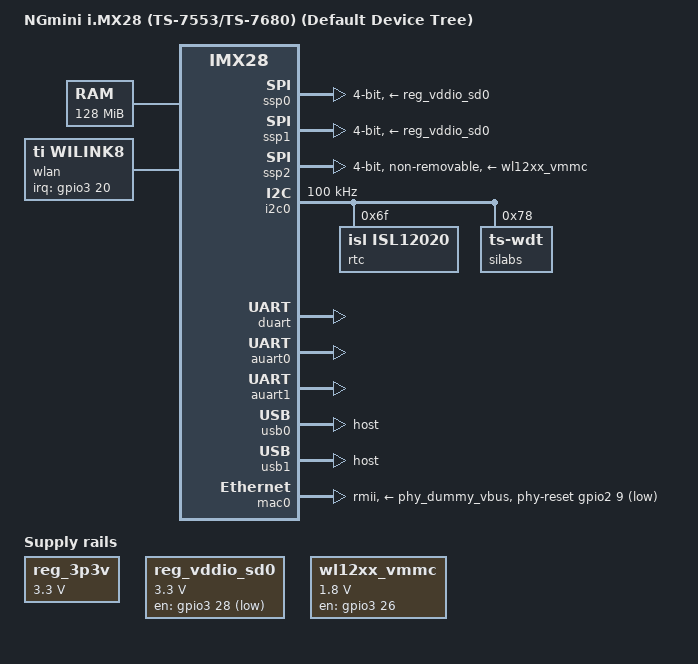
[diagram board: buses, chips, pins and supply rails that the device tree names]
/*
 * Copyright (C) 2012 Marek Vasut <marex@denx.de>
 *
 * The code contained herein is licensed under the GNU General Public
 * License. You may obtain a copy of the GNU General Public License
 * Version 2 or later at the following locations:
 *
 * http://www.opensource.org/licenses/gpl-license.html
 * http://www.gnu.org/copyleft/gpl.html
 */

/dts-v1/;
#include "imx28.dtsi"
#include "dt-bindings/gpio/gpio.h"
#include <dt-bindings/interrupt-controller/irq.h>

/ {

	model = "NGmini i.MX28 (TS-7553/TS-7680) (Default Device Tree)";
	compatible = "fsl,imx28-tsngmini", "fsl,imx28";

	aliases {
		mmc0 = &ssp0;
		mmc2 = &ssp1;
		i2c0 = &i2c0;
	};

	memory {
		reg = <0x40000000 0x08000000>;   /* 128MB */
	};

	apb@80000000 {
		apbh@80000000 {
		
			ssp0: ssp@80010000 {
				compatible = "fsl,imx28-mmc";
				pinctrl-names = "default";
				pinctrl-0 = <&mmc0_4bit_pins
					     &en_sd_pwr>;
				broken-cd = <1>;	     
				bus-width = <4>;
				vmmc-supply = <&reg_vddio_sd0>;
				status = "okay";
			};

			ssp1: ssp@80012000 {
				compatible = "fsl,imx28-mmc";
				pinctrl-names = "default";
				pinctrl-0 = <&mmc1_4bit_pins
					     &en_sd_pwr>;
				broken-cd = <1>;	     
				bus-width = <4>;
				vmmc-supply = <&reg_vddio_sd0>;
				status = "okay";
			};
						
			ssp2: ssp@80014000 {
				compatible = "fsl,imx28-mmc";
				max-frequency = <26000000>;
				pinctrl-names = "default";
				pinctrl-0 = <&mmc2_4bit_pins
		  			     &misc_pins>;
				broken-cd = <1>;
				cap-sdio-irq;
				non-removable;
				bus-width = <4>;
				vmmc-supply = <&wl12xx_vmmc>;
				status = "okay";
			};

			pinctrl@80018000 {
				pinctrl-names = "default";
				
				en_sd_pwr: en_sd_pwr {
				   fsl,pinmux-ids = <
				      MX28_PAD_PWM3__GPIO_3_28   // EN_SD_POWER#
				   >;
				   fsl,drive-strength = <MXS_DRIVE_4mA>;
					fsl,voltage = <MXS_VOLTAGE_HIGH>;
					fsl,pull-up = <MXS_PULL_DISABLE>;				   
				};

				mmc0_4bit_pins: mmc0-4bit@0 {
					reg = <0>;
					fsl,pinmux-ids = <
					  MX28_PAD_SSP0_DATA0__SSP0_D0
					  MX28_PAD_SSP0_DATA1__SSP0_D1
					  MX28_PAD_SSP0_DATA2__SSP0_D2
					  MX28_PAD_SSP0_DATA3__SSP0_D3
					  MX28_PAD_SSP0_CMD__SSP0_CMD						
					  MX28_PAD_SSP0_SCK__SSP0_SCK
					>;
					fsl,drive-strength = <MXS_DRIVE_8mA>;
					fsl,voltage = <MXS_VOLTAGE_HIGH>;
					fsl,pull-up = <MXS_PULL_ENABLE>;
				};

				mmc1_4bit_pins: mmc1-4bit@0 {
					reg = <0>;
					fsl,pinmux-ids = <
					  MX28_PAD_GPMI_WRN__SSP1_SCK

					  MX28_PAD_GPMI_RDY1__SSP1_CMD
					  MX28_PAD_GPMI_D00__SSP1_D0
					  MX28_PAD_GPMI_D01__SSP1_D1
					  MX28_PAD_GPMI_D02__SSP1_D2
					  MX28_PAD_GPMI_D03__SSP1_D3
					>;
					fsl,drive-strength = <MXS_DRIVE_8mA>;
					fsl,voltage = <MXS_VOLTAGE_HIGH>;
					fsl,pull-up = <MXS_PULL_ENABLE>;
				};
				
				mmc2_4bit_pins: mmc2-4bit@0 {   /* wifi */
					reg = <0>;
					fsl,pinmux-ids = <
					  MX28_PAD_SSP0_DATA4__SSP2_D0
					  MX28_PAD_SSP2_SS1__SSP2_D1
					  MX28_PAD_SSP2_SS2__SSP2_D2
					  MX28_PAD_SSP0_DATA5__SSP2_D3
					  MX28_PAD_SSP0_DATA6__SSP2_CMD
					  MX28_PAD_SSP0_DATA7__SSP2_SCK

					  MX28_PAD_SAIF0_MCLK__GPIO_3_20 /*IRQ*/
					  MX28_PAD_SAIF0_LRCLK__GPIO_3_21 /*BT*/
					  MX28_PAD_SAIF1_SDATA0__GPIO_3_26/*WL*/
					>;
					fsl,drive-strength = <MXS_DRIVE_12mA>;
					fsl,voltage = <MXS_VOLTAGE_LOW>;
					fsl,pull-up = <MXS_PULL_ENABLE>;
				};

				mac0_pins_ts: mac0@0 {
					reg = <0>;
					fsl,pinmux-ids = <
					   MX28_PAD_ENET0_MDC__GPIO_4_0
					   MX28_PAD_ENET0_MDIO__GPIO_4_1
					   MX28_PAD_ENET0_RX_EN__ENET0_RX_EN
					   MX28_PAD_ENET0_RXD0__ENET0_RXD0
					   MX28_PAD_ENET0_RXD1__ENET0_RXD1
					   MX28_PAD_ENET0_TX_EN__ENET0_TX_EN
					   MX28_PAD_ENET0_TXD0__ENET0_TXD0
					   MX28_PAD_ENET0_TXD1__ENET0_TXD1
					   MX28_PAD_ENET_CLK__CLKCTRL_ENET
					>;
					fsl,drive-strength = <MXS_DRIVE_8mA>;
					fsl,voltage = <MXS_VOLTAGE_HIGH>;
					fsl,pull-up = <MXS_PULL_ENABLE>;
				};

				auart0_pins_1v8: auart0@0 {
					reg = <0>;
					fsl,pinmux-ids = <
						MX28_PAD_AUART0_RX__AUART0_RX
						MX28_PAD_AUART0_TX__AUART0_TX
						MX28_PAD_AUART0_CTS__AUART0_CTS
						MX28_PAD_AUART0_RTS__AUART0_RTS
					>;
					fsl,drive-strength = <MXS_DRIVE_4mA>;
					fsl,voltage = <MXS_VOLTAGE_LOW>;
					fsl,pull-up = <MXS_PULL_DISABLE>;
				};

				misc_pins: misc@0 {
					reg = <0>;
					fsl,pinmux-ids = <
					  //USB 5V EN
					  MX28_PAD_LCD_CS__GPIO_1_27

					  MX28_PAD_SSP2_MISO__GPIO_2_18
					  MX28_PAD_SSP2_SS0__GPIO_2_19
					  MX28_PAD_SSP2_SCK__GPIO_2_16
					  MX28_PAD_SSP2_MOSI__GPIO_2_17
			      		>;
					fsl,drive-strength = <MXS_DRIVE_4mA>;
					fsl,voltage = <MXS_VOLTAGE_HIGH>;
					fsl,pull-up = <MXS_PULL_ENABLE>;
				};

			};
			
			can0: can@80032000 {
				pinctrl-names = "default";
				pinctrl-0 = <&can0_pins_a>;
				status = "disabled";
			};

			can1: can@80034000 {
				pinctrl-names = "default";
				pinctrl-0 = <&can1_pins_a>;
				status = "disabled";
			};

		};

		apbx@80040000 {
			i2c0: i2c@80058000 {
				pinctrl-names = "default";
				pinctrl-0 = <&i2c0_pins_a>;
				clock-frequency = <100000>;
				status = "okay";

				rtc: isl12020@6f {
					compatible = "isl,isl12020";
					reg = <0x6f>;
				};

				silabs: silabs@78 {
					compatible = "ts-wdt";
					reg = <0x78>;
				};
		   	};

			duart: serial@80074000 {
				pinctrl-names = "default";
				pinctrl-0 = <&duart_pins_a>;
				status = "okay";
			};

			usbphy0: usbphy@8007c000 {
				status = "okay";
								
			};

			usbphy1: usbphy@8007e000 {			   
				status = "okay";
			};


			auart0: serial@8006a000 {
				pinctrl-names = "default";
				pinctrl-0 = <&auart0_pins_1v8>;
				status = "okay";
			};

			auart1: serial@8006c000 {
				pinctrl-names = "default";
				pinctrl-0 = <&auart1_2pins_a>;
				status = "okay";
			};

			pwm: pwm@80064000 {
				pinctrl-names = "default";
				pinctrl-0 = <&pwm2_pins_a>;
				status = "disabled";
			};
		};
	};

	ahb@80080000 {	   
		usb0: usb@80080000 {
			disable-over-current;
			dr_mode = "host";
			status = "okay";
		};

		usb1: usb@80090000 {
			disable-over-current;
			dr_mode = "host";
			status = "okay";
		};

		mac0: ethernet@800f0000 {
			phy-mode = "rmii";
			pinctrl-names = "default";
			pinctrl-0 = <&mac0_pins_ts>;
			clocks = <&clks 57>, <&clks 57>, <&clks 64>;
			clock-names = "ipg", "ahb", "enet_out";
		 	phy-supply = <&phy_dummy_vbus>;		
			phy-reset-gpios = <&gpio2 9 GPIO_ACTIVE_LOW>;
			phy-reset-duration = <1000>;
			status = "okay";

			phy: ethernet@0 {	   
				device_type = "network";
				fixed-link = <0 1 100 0 0>;
			};
		};
	};

	regulators {
		compatible = "simple-bus";

		reg_3p3v: 3p3v {
			compatible = "regulator-fixed";
			regulator-name = "3P3V";
			regulator-min-microvolt = <3300000>;
			regulator-max-microvolt = <3300000>;
			regulator-always-on;
		};
		
		
		reg_vddio_sd0: vddio-sd0 {
			compatible = "regulator-fixed";
			regulator-name = "vddio-sd0";
			regulator-min-microvolt = <3300000>;
			regulator-max-microvolt = <3300000>;
			regulator-boot-on;
			gpio = <&gpio3 28 0>;
			};
	
		
		reg_usb0_vbus: usb0_vbus {
			compatible = "regulator-dummy";
			regulator-name = "usb0_vbus_dummy";
			regulator-always-on;
			
		};

		reg_usb1_vbus: usb1_vbus {
			compatible = "regulator-dummy";
			regulator-name = "usb1_vbus_dummy";
			regulator-always-on;
		};
		
		
		wl12xx_vmmc: wl12xx-vmmc {		
			compatible = "regulator-fixed";
			regulator-name = "vddio-sd1";
			regulator-min-microvolt = <1800000>;
			regulator-max-microvolt = <1800000>;
			gpio = <&gpio3 26 0>;
			startup-delay-us = <70000>;
			enable-active-high;
			regulator-boot-on;
		};

		phy_dummy_vbus: phy_dummy_vbus {		
			compatible = "regulator-dummy";
			regulator-name = "phy-dummy";
			enable-active-high;
			regulator-boot-on;
		};


	};
	
	wlan  {
		compatible = "ti,wilink8";		
		interrupt-parent = <&gpio3>;		
		interrupts = <20 IRQ_TYPE_EDGE_FALLING>;
		interrupt-names = "wlan";
		status = "okay";
	};

};


